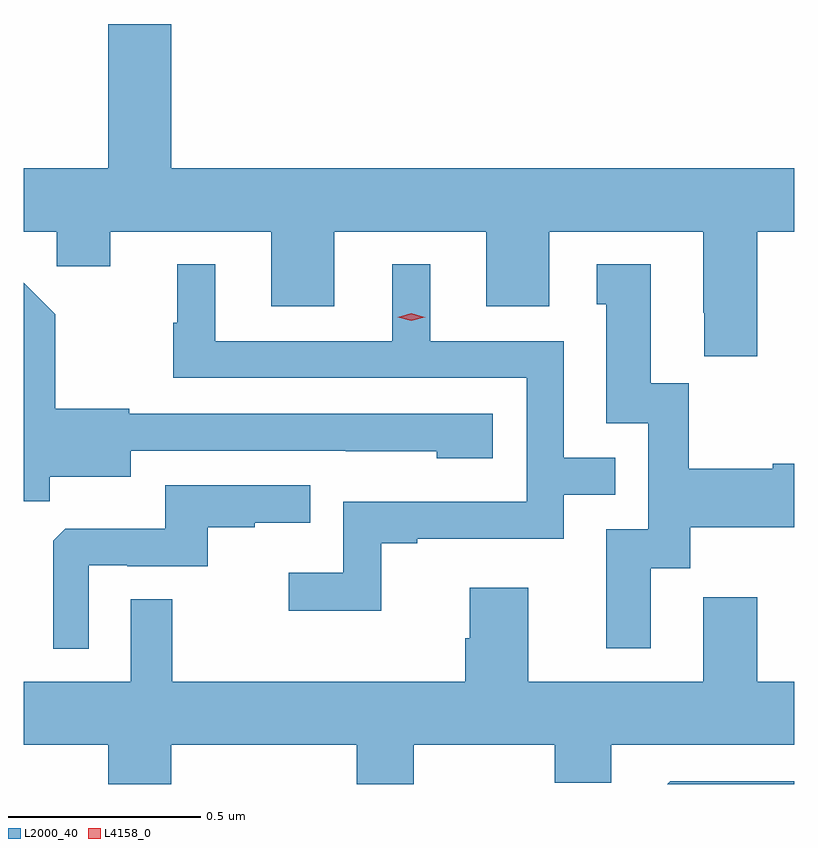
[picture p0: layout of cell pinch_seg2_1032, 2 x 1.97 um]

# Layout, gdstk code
import gdstk
lib = gdstk.Library(unit=1e-6, precision=1e-09)
def P(c, l, *ps):  # polygons
    for p in ps: c.add(gdstk.Polygon(p, *l))
L2000_40 = (2000, 40)
L4158_0 = (4158, 0)

pinch_seg2_1032 = lib.new_cell('pinch_seg2_1032')
P(pinch_seg2_1032, L2000_40, [(166.693,620.996),(166.789,620.996),(166.789,621.16),(165.172,621.16),(165.172,621.535),(165.008,621.535),(165.008,621.16),(164.789,621.16),(164.789,620.996),(164.875,620.996),(164.875,620.906),(165.013,620.906),(165.013,620.996),(165.431,620.996),(165.431,620.802),(165.595,620.802),(165.595,620.996),(165.989,620.996),(165.989,620.802),(166.153,620.802),(166.153,620.996),(166.553,620.996),(166.553,620.785),(166.556,620.785),(166.556,620.673),(166.693,620.673)],
  [(165.717,620.187),(165.811,620.187),(165.811,620.199),(166.191,620.199),(166.191,620.313),(166.325,620.313),(166.325,620.409),(166.191,620.409),(166.191,620.712),(165.844,620.712),(165.844,620.911),(165.746,620.911),(165.746,620.712),(165.286,620.712),(165.286,620.911),(165.188,620.911),(165.188,620.76),(165.177,620.76),(165.177,620.616),(166.095,620.616),(166.095,620.295),(165.618,620.295),(165.618,620.11),(165.477,620.11),(165.477,620.012),(165.717,620.012)],
  [(166.417,620.122),(166.519,620.122),(166.519,620.228),(166.789,620.228),(166.789,620.393),(166.733,620.393),(166.733,620.38),(166.515,620.38),(166.515,620.603),(166.417,620.603),(166.417,620.911),(166.277,620.911),(166.277,620.808),(166.301,620.808),(166.301,620.499),(166.41,620.499),(166.41,620.223),(166.301,620.223),(166.301,619.914),(166.417,619.914)],
  [(164.856,620.36),(165.067,620.36),(165.067,620.427),(165.625,620.427),(165.625,620.426),(165.861,620.426),(165.861,620.408),(166.006,620.408),(166.006,620.523),(165.063,620.523),(165.063,620.536),(164.871,620.536),(164.871,620.781),(164.789,620.863),(164.789,620.296),(164.856,620.296)],
  [(164.958,620.13),(165.058,620.13),(165.058,620.127),(165.266,620.127),(165.266,620.229),(165.389,620.229),(165.389,620.24),(165.533,620.24),(165.533,620.337),(165.156,620.337),(165.156,620.225),(164.897,620.225),(164.865,620.193),(164.865,619.913),(164.958,619.913)],
  [(166.553,620.047),(166.553,619.828),(166.099,619.828),(166.099,620.071),(165.947,620.071),(165.947,619.941),(165.935,619.941),(165.935,619.828),(165.175,619.828),(165.175,620.042),(165.066,620.042),(165.066,619.828),(164.789,619.828),(164.789,619.664),(165.008,619.664),(165.008,619.562),(165.172,619.562),(165.172,619.664),(165.653,619.664),(165.653,619.562),(165.801,619.562),(165.801,619.664),(166.168,619.664),(166.168,619.565),(166.314,619.565),(166.314,619.664),(166.789,619.664),(166.789,619.828),(166.693,619.828),(166.693,620.047)],
  [(166.789,619.569),(166.467,619.569),(166.46,619.562),(166.789,619.562)])
P(pinch_seg2_1032, L4158_0, [(165.795,620.764),(165.76,620.774),(165.759,620.774),(165.76,620.774),(165.795,620.784),(165.83,620.774),(165.831,620.774),(165.83,620.774)])

lib.write_gds('pinch_seg2_1032.gds')
